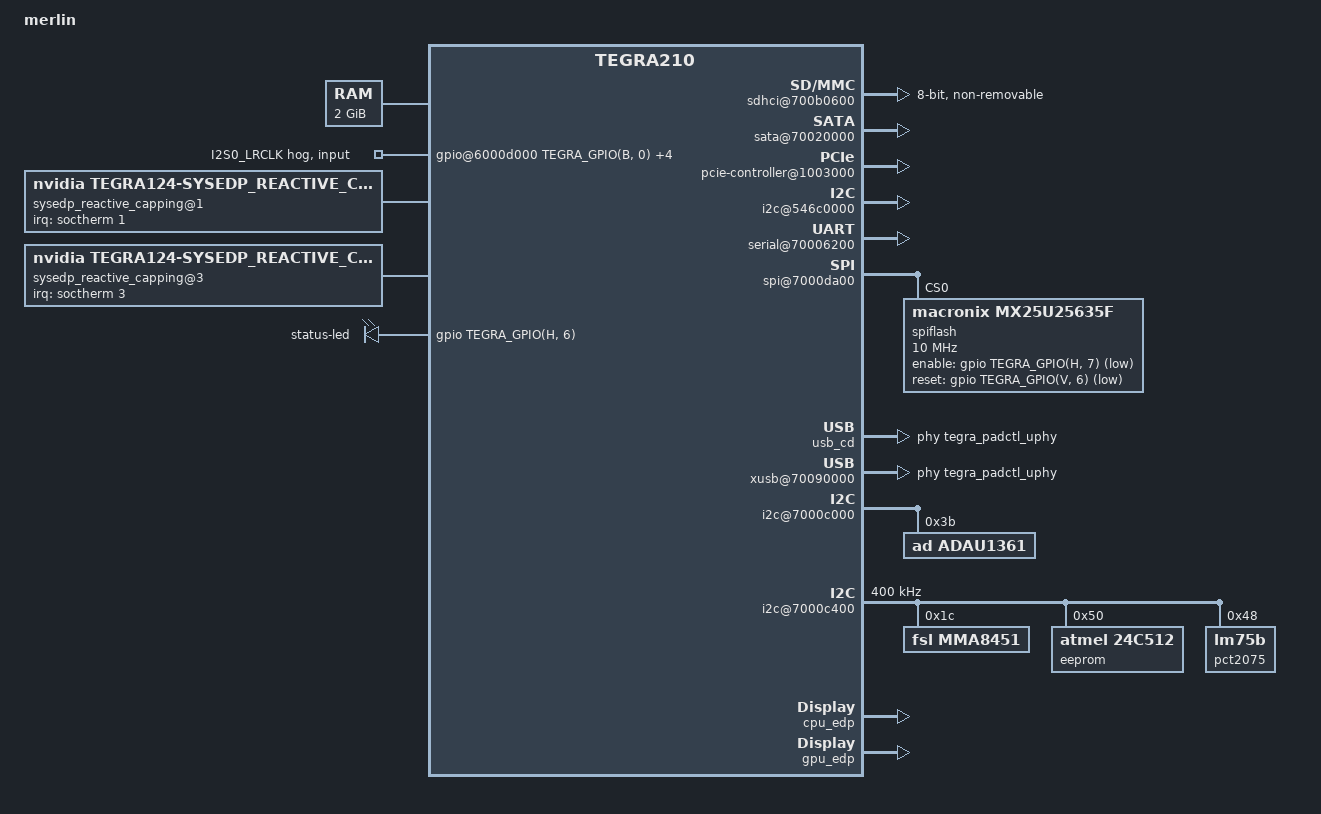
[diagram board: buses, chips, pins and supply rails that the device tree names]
/*
 * Copyright (c) 2016, Sensity Systems, Inc.  All rights reserved.
 * Copyright (c) 2017 Verizon Communications, Inc.  All rights reserved.
 *
 * This program is free software; you can redistribute it and/or modify
 * it under the terms of the GNU General Public License as published by
 * the Free Software Foundation; version 2 of the License.
 *
 * This program is distributed in the hope that it will be useful, but WITHOUT
 * ANY WARRANTY; without even the implied warranty of MERCHANTABILITY or
 * FITNESS FOR A PARTICULAR PURPOSE.  See the GNU General Public License for
 * more details.
 *
 */

/dts-v1/;

/memreserve/ 0x80000000 0x00020000;

#include "tegra210-jetson-common.dtsi"
#include <tegra210-soc/tegra210-audio.dtsi>
#include "tegra210-sensity-merlin-power-tree.dtsi"
#include "tegra210-sensity-merlin-pinmux.dtsi"
#include "jetson-platforms/tegra210-jetson-cv-sdmmc-drv-p2597-2180-a00.dtsi"
#include "jetson-platforms/tegra210-jetson-cv-prods.dtsi"
#include "tegra210-sensity-merlin-cameras.dtsi"
#include <tegra210-soc/tegra210-sdhci.dtsi>
#include "jetson-platforms/tegra210-p2180-common.dtsi"
#include <dt-bindings/iio/meter/ina3221x.h>
#include <t210-common-platforms/tegra210-otg-gpio-detection-extcon.dtsi>
#include "jetson-platforms/tegra210-jetson-cv-emc-p2180-1000-a00.dtsi"
#include <tegra210-soc/tegra210-edp.dtsi>
#include <t210-common-platforms/tegra210-sysedp.dtsi>
#include <t210-common-platforms/tegra210-thermal-nct72-p2530.dtsi>
#include <tegra210-soc/tegra210-thermal-Tboard-Tdiode.dtsi>
#include "jetson-platforms/tegra210-jetson-cv-powermon-p2180-1000-a00.dtsi"
#include "jetson-platforms/tegra210-jetson-cv-powermon-p2597.dtsi"
#include <t210-common-platforms/tegra210-cpufreq.dtsi>
#include <t210-common-overrides/tegra210-power-dvfs-override-ucm2c.dtsi>

/ {
	model = "merlin";
	compatible = "sensity,merlin", "nvidia,jetson-cv", "nvidia,tegra210";
	nvidia,dtsfilename = __FILE__;

	nvidia,boardids = "2597:2180:A0";
	nvidia,proc-boardid = "2597:2180:A0";
	nvidia,pmu-boardid = "2597:2180:A0";
	#address-cells = <2>;
	#size-cells = <2>;

	aliases {
		rtc0 = "/i2c@7000d000/max77620@3c";
		/delete-property/ rtc1;
	};

	chosen {
		board-has-eeprom;
		stdout-path = &uarta;
	};

	reserved-memory {
		generic_reserved: generic_carveout {
			compatible = "nvidia,generic_carveout";
			size = <0x0 0x20000000>;	/* size set as 512MB here. Update it as desired. */
			alignment = <0 0x100000>;	/* carveout start is aligned to 1MB here*/
			alloc-ranges = <0 0 0x1 0>;	/* phys memory reserved is between 0x0 and 4GB-1 address range. */
			no-map;
			status = "disabled";
		};
	};

	pmc@7000e400 {
		nvidia,invert-interrupt;
		iopad-defaults {
			sdmmc-io-pads {
				pins = "sdmmc1", "sdmmc3";
				nvidia,enable-voltage-switching;
			};
		};
	};

	memory@80000000 {
		device_type = "memory";
		reg = < 0x0 0x80000000 0x0 0x80000000 >;
	};

	rtc {
		status = "disabled";
	};

	sdhci@700b0600 { /* SDMMC4 for EMMC */
		uhs-mask = <0x0>;
		built-in;
		power-off-rail;
		status = "okay";
		bus-width = <8>;
		non-removable;
	};

	sdhci@700b0200 { /* SDMMC2 for Wifi */
		uhs-mask = <0x8>;
		power-off-rail;
		status = "disabled";
	};

	sdhci@700b0000 { /* SDMMC1 for SD card */
		status = "disabled";
	};

	adma@702e2000  {
		dma-channels = <10>;
		status = "okay";
	};

	ahub {
		i2s@702d1000 {
			pinctrl-names = "dap_active", "dap_inactive";
			pinctrl-0 = <>;
			pinctrl-1 = <>;
			regulator-supplies = "vdd-1v8-audio-hv", "vdd-1v8-audio-hv-bias";
			vdd-1v8-audio-hv-supply = <&max77620_sd3>;
			vdd-1v8-audio-hv-bias-supply = <&max77620_sd3>;
		};

		i2s@702d1300 {
			pinctrl-names = "dap_active", "dap_inactive";
			pinctrl-0 = <>;
			pinctrl-1 = <>;
			regulator-supplies = "vddio-dmic";
			vddio-dmic-supply = <&max77620_sd3>;
		};

		i2s@702d1100 {
			pinctrl-names = "dap_active", "dap_inactive";
			pinctrl-0 = <>;
			pinctrl-1 = <>;
			regulator-supplies = "vdd-1v8-spi-hv", "vdd-1v8-spi-hv-bias";
			vdd-1v8-spi-hv-supply = <&max77620_sd3>;
			vdd-1v8-spi-hv-bias-supply = <&max77620_sd3>;
			fsync-width = <0>;
		};
	};

	sata@70020000 {
		compatible = "nvidia,tegra210-ahci-sata";
		status = "okay";
	};

	pcie-controller@1003000 {
		nvidia,wake-gpio = <&gpio TEGRA_GPIO(A, 2) 0>;
		dvdd-pex-pll-supply = <&max77620_ldo1>;
		l0-dvddio-pex-supply = <&max77620_ldo1>;
		l1-dvddio-pex-supply = <&max77620_ldo1>;
		l2-dvddio-pex-supply = <&max77620_ldo1>;
		l3-dvddio-pex-supply = <&max77620_ldo1>;
		l4-dvddio-pex-supply = <&max77620_ldo1>;
		l5-dvddio-pex-supply = <&max77620_ldo1>;
		l6-dvddio-pex-supply = <&max77620_ldo1>;
		hvdd-pex-pll-e-supply = <&max77620_sd3>;
		l0-hvddio-pex-supply = <&max77620_sd3>;
		l1-hvddio-pex-supply = <&max77620_sd3>;
		l2-hvddio-pex-supply = <&max77620_sd3>;
		l3-hvddio-pex-supply = <&max77620_sd3>;
		l4-hvddio-pex-supply = <&max77620_sd3>;
		l5-hvddio-pex-supply = <&max77620_sd3>;
		l6-hvddio-pex-supply = <&max77620_sd3>;
		vddio-pex-ctl-supply = <&max77620_sd3>;
		status = "okay";

		pci@1,0 {
			nvidia,num-lanes = <4>;
			status = "okay";
		};

		pci@2,0 {
			nvidia,num-lanes = <1>;
			status = "disabled";
		};
	};

	host1x {
		assigned-clocks = <&tegra_car TEGRA210_CLK_EXTERN3>,
						<&tegra_car TEGRA210_CLK_CILE>,
						<&tegra_car TEGRA210_CLK_CILCD>,
						<&tegra_car TEGRA210_CLK_CILAB>,
						<&tegra_car TEGRA210_CLK_VI_I2C>,
						<&tegra_car TEGRA210_CLK_CLK_OUT_3_MUX>,
						<&tegra_car TEGRA210_CLK_VI>,
						<&tegra_car TEGRA210_CLK_ISP>,
						<&tegra_car TEGRA210_CLK_ISPB>;
		assigned-clock-parents = <&tegra_car TEGRA210_CLK_PLL_P>,
						<&tegra_car TEGRA210_CLK_PLL_P>,
						<&tegra_car TEGRA210_CLK_PLL_P>,
						<&tegra_car TEGRA210_CLK_PLL_P>,
						<&tegra_car TEGRA210_CLK_PLL_P>,
						<&tegra_car TEGRA210_CLK_EXTERN3>,
						<&tegra_car TEGRA210_CLK_PLL_C>,
						<&tegra_car TEGRA210_CLK_PLL_C>,
						<&tegra_car TEGRA210_CLK_ISP>;
		assigned-clock-rates = <24000000>,
						<102000000>,
						<102000000>,
						<102000000>,
						<102000000>,
						<24000000>,
						<408000000>,
						<408000000>,
						<0>;
		/* tegradc.0 */
		dc@54200000 {
			status = "disabled";
		};

		/* tegradc.1 */
		dc@54240000 {
			status = "disabled";
		};

		dsi {
			status = "disabled";
		};

		sor {
		        status = "disabled";
		};

		dpaux1 {
			status = "disabled";
		};

		i2c@546c0000 {
			status = "okay";
			bus-pullup-supply = <&max77620_sd3>;
			avdd_dsi_csi-supply = <&max77620_ldo0>;
		};

		vi {
			status = "okay";
			avdd_dsi_csi-supply = <&max77620_ldo0>;
		};
	};

	serial@70006040 {
		status = "disabled";
	};

	serial@70006200 {
		status = "okay";
	};

	serial@70006300 {
		status = "disabled";
		dma-names = "tx";
	};

	spi@7000d400 {
		status = "disabled";
	};

	spi@7000da00 {
		status = "okay";
		spiflash: mcix@0 {
			#address-cells = <1>;
			#size-cells = <1>;
			compatible = "macronix,mx25u25635f", "jedec,spi-nor";
			reg = <0>;
			spi-max-frequency = <10000000>;
			m25p,fast-read;
			enable-gpio = <&gpio TEGRA_GPIO(H, 7) GPIO_ACTIVE_LOW>;
			reset-gpios = <&gpio TEGRA_GPIO(V, 6) GPIO_ACTIVE_LOW>;
		};
	};

	gpio@6000d000 {
		adau1361-audio {
			gpio-hog;
			function;
			gpios = <
				TEGRA_GPIO(B, 0) 0
				TEGRA_GPIO(B, 1) 0
				TEGRA_GPIO(B, 2) 0
				TEGRA_GPIO(B, 3) 0
				TEGRA_GPIO(BB, 0) 0
				>;
			label = "I2S0_LRCLK", "I2S0_SDIN", "I2S0_SDOUT",
				"I2S0_CLK", "AUDIO_MCLK";
		};
	};
	sound_card: sound {
		compatible = "nvidia,tegra-audio-t210ref-adau1x61";
		nvidia,model = "tegra-snd-t210ref-adau1x61";

		clocks = <&tegra_car TEGRA210_CLK_PLL_P_OUT1>,
                        <&tegra_car TEGRA210_CLK_PLL_A>,
                        <&tegra_car TEGRA210_CLK_PLL_A_OUT0>,
                        <&tegra_car TEGRA210_CLK_D_AUDIO>,
                        <&tegra_car TEGRA210_CLK_CLK_M>,
                        <&tegra_car TEGRA210_CLK_EXTERN1>;
		clock-names = "pll_p_out1", "pll_a", "pll_a_out0", "ahub",
			"clk_m", "extern1";


		assigned-clocks = <&tegra_car TEGRA210_CLK_PLL_A>,
			<&tegra_car TEGRA210_CLK_PLL_A_OUT0>,
			<&tegra_car TEGRA210_CLK_D_AUDIO>,
			<&tegra_car TEGRA210_CLK_EXTERN1>;
		assigned-clock-rates = <368640000>, <36864000>,
			<36864000>, <12288000>;

		nvidia,num-codec-link = <1>;

		nvidia,audio-routing =
			"x LINN",	"x Microphone";

		nvidia,xbar = <&tegra_axbar>;
		nvidia,dai-link-1 {
			link-name = "adau-hifi";
			cpu-dai = <&tegra_i2s1>;
			cpu-dai-name = "I2S1";
			codec-dai = <&adau1361>;
			codec-dai-name = "adau-hifi";
			format = "i2s";
			bitclock-master;
			frame-master;
			bitclock-noninversion;
			frame-noninversion;
			bit-format = "s16_le";
			bclk_ratio = <0>;
			srate = <48000>;
			num-channel = <2>;
			name-prefix = "x";
		};
	};

	adsp_audio {
		compr-ops = <1>;
		num-plugin = <5>;
		plugin-info-1 {
			plugin-name = "mp3-dec1";
			firmware-name = "nvmp3dec.elf";
			widget-name = "MP3-DEC1";
		};
		plugin-info-2 {
			plugin-name = "spkprot";
			firmware-name = "nvspkprot.elf";
			widget-name = "SPKPROT-SW";
		};
		plugin-info-3 {
			plugin-name = "src";
			firmware-name = "nvsrc.elf";
			widget-name = "SRC";
		};
		plugin-info-4 {
			plugin-name = "aac-dec1";
			firmware-name = "nvaacdec.elf";
			widget-name = "AAC-DEC1";
		};
		plugin-info-5 {
			plugin-name = "aec";
			firmware-name = "nvoice.elf";
			widget-name = "AEC";
		};
	};

	extcon {
		extcon@0 {
			status = "disabled";
		};
	};

	udc@7d000000 {
		nvidia,port-otg;
		nvidia,charging-supported;
		#extcon-cells = <1>;
		status = "disabled";
	};

        otg@7d000000 {
		#extcon-cells = <1>;
		status = "disabled";
	};

	mailbox@70098000 {
		status = "okay";
	};

	usb_cd {
		status = "okay";
		phys = <&tegra_padctl_uphy TEGRA_PADCTL_UPHY_UTMI_P(0)>;
		phy-names = "otg-phy";
	};

	watchdog@60005100 {
		status = "okay";
	};

	pinctrl@7009f000 {
		status = "okay";
		pinctrl-0 = <&tegra_padctl_uphy_pinmux_default>;
		pinctrl-names = "default";
		tegra_padctl_uphy_pinmux_default: pinmux {
			usb2-micro-AB-xusb {
				nvidia,lanes = "otg-0";
				nvidia,function = "xusb";
				nvidia,port-cap =
					<TEGRA_PADCTL_PORT_OTG_CAP>;
				nvidia,usb3-port-fake = <2>;
			};
			usb2-std-A-port0 {
				 nvidia,lanes = "otg-2";
				 nvidia,function = "xusb";
				 nvidia,port-cap =
					<TEGRA_PADCTL_PORT_HOST_ONLY>;
			};
			usb2-socfpga {
				 nvidia,lanes = "otg-3";
				 nvidia,function = "xusb";
				 nvidia,port-cap =
					<TEGRA_PADCTL_PORT_HOST_ONLY>;
			};
			usb2-eth {
				 nvidia,lanes = "otg-1";
				 nvidia,function = "xusb";
				 nvidia,port-cap =
					<TEGRA_PADCTL_PORT_HOST_ONLY>;
			};
			usb3-eth {
				 nvidia,lanes = "uphy-lane-6";
				 nvidia,function = "usb3";
				 nvidia,usb3-port = <0>;
				 nvidia,usb2-map = <1>;
				 nvidia,port-cap =
					<TEGRA_PADCTL_PORT_HOST_ONLY>;
			};
			hsic {
				 nvidia,lanes = "hsic-0";
				 nvidia,function = "hsic";
			};
			pcie {
				 nvidia,lanes =	"uphy-lane-1", "uphy-lane-2",
						"uphy-lane-3", "uphy-lane-4";
				 nvidia,function = "pcie";
				 nvidia,pcie-controller = <0>;
				 nvidia,pcie-lane-select =
					<TEGRA_PADCTL_PCIE_LANE_X4>;
			};
			pcie-m2 {
				nvidia,lanes = "uphy-lane-0";
				nvidia,function = "pcie";
				nvidia,pcie-controller = <1>;
				nvidia,pcie-lane-select =
					<TEGRA_PADCTL_PCIE_LANE_X1>;
			};
			sata {
				 nvidia,lanes = "uphy-lane-7";
				 nvidia,function = "sata";
			};
		};
	};

	xusb@70090000 {
		status = "okay";
		extcon-cables = <&vbus_gpio_extcon 1>;
		extcon-cable-names = "id";
		#extcon-cells = <1>;
		phys =	<&tegra_padctl_uphy TEGRA_PADCTL_UPHY_UTMI_P(2)>,
			<&tegra_padctl_uphy TEGRA_PADCTL_UPHY_UTMI_P(1)>,
			<&tegra_padctl_uphy TEGRA_PADCTL_UPHY_USB3_P(0)>,
			<&tegra_padctl_uphy TEGRA_PADCTL_UPHY_UTMI_P(0)>,
			<&tegra_padctl_uphy TEGRA_PADCTL_UPHY_UTMI_P(3)>;
		phy-names = "utmi-2", "utmi-1", "usb3-0", "utmi-0", "utmi-3";
		nvidia,pmc-wakeup =
			<&tegra_pmc
				PMC_WAKE_TYPE_EVENT 41 PMC_TRIGGER_TYPE_HIGH>,
			<&tegra_pmc
				PMC_WAKE_TYPE_EVENT 44 PMC_TRIGGER_TYPE_HIGH>;
	};

	xudc@700d0000 {
		nvidia,portmap = <0x0108>;
		#extcon-cells = <1>;
		status = "disabled";
	};

	xotg {
		#extcon-cells = <1>;
		status = "disabled";
	};

	gpu-dvfs-rework {
		status = "ok";
	};

	i2c@7000c000 {
		adau1361: adau1761.0-003b@3b {
                        compatible = "ad,adau1361";
                        reg = <0x3b>;
			lineout-mode = "headphone"; /* "line" | "headphone" | "headphone-capless" */
			headphone-mode = "headphone-capless"; /* "line" | "headphone" | "headphone-capless" */
			digmic-jackdetect-pin-mode = "none"; /* "none" | "digmic" | "jackdetect" */
			micbias-voltage-pct = <90>; /* <90|65> */
			input-differential;
			/* jackdetect-active-low; */
			/* jackdetect-debounce-time = <5|10|20|40>; */
                };
	};

	i2c@7000c400 {
		nvidia,clock-always-on;
	};

	sysedp {
		compatible = "nvidia,tegra124-sysedp";
		nvidia,margin = <0>;
		nvidia,min_budget = <0>;
		nvidia,initial_budget = <40000>;
	};

	sysedp_reactive_capping@1 {
		compatible = "nvidia,tegra124-sysedp_reactive_capping";
		nvidia,max_capping_mw = <15000>;
		nvidia,step_alarm_mw = <1000>;
		nvidia,step_relax_mw = <500>;
		nvidia,relax_ms = <250>;
		nvidia,threshold_warning = "WARNING - SYSTEM Voltage Droop detected, please refer to the Jetson Power management application note";
		interrupt-parent = <&soctherm>;
		interrupts = <1 0x2002>;
		sysedpc {
			nvidia,name = "voltmon_oc1";
		};
	};

	sysedp_reactive_capping@3 {
		compatible = "nvidia,tegra124-sysedp_reactive_capping";
		nvidia,max_capping_mw = <15000>;
		nvidia,step_alarm_mw = <1000>;
		nvidia,step_relax_mw = <500>;
		nvidia,relax_ms = <250>;
		nvidia,threshold_warning = "WARNING - Battery Over Current Limit hit, please refer to the Jetson Power management application note";
		interrupt-parent = <&soctherm>;
		interrupts = <3 0x2002>;
		sysedpc {
			nvidia,name = "batmon_oc3";
		};
	};

	sysedp-dynamic-capping {
		compatible = "nvidia,tegra124-sysedp-dynamic-capping";
		nvidia,throttle_depth = <75>;
		nvidia,cap_method = <1>;
	};

	cpu_edp {
		status = "okay";
		nvidia,edp_limit = <25000>;
	};

	gpu_edp {
		status = "okay";
		nvidia,edp_limit = <25000>;
	};

	soctherm@0x700E2000 {
		throttle-cfgs {
			throttle_oc1: oc1 {
				nvidia,priority = <50>;
				nvidia,polarity-active-low = <1>;
				nvidia,count-threshold = <100>;
				nvidia,alarm-filter = <5100000>;
				nvidia,alarm-period = <0>;
				nvidia,cpu-throt-percent = <75>;
				nvidia,gpu-throt-level =
					<TEGRA_SOCTHERM_THROT_LEVEL_MED>;
			};
			throttle_oc3: oc3 {
				nvidia,priority = <40>;
				nvidia,polarity-active-low = <1>;
				nvidia,count-threshold = <15>;
				nvidia,alarm-filter = <5100000>;
				nvidia,alarm-period = <0>;
				nvidia,cpu-throt-percent = <0>;
				nvidia,gpu-throt-level =
					<TEGRA_SOCTHERM_THROT_LEVEL_NONE>;
			};
		};
	};

	thermal-zones {
		CPU-therm {
			thermal-zone-params {
				governor-name = "step_wise";
			};
			trips {
				cpu_critical {
					temperature = <102000>;
					hysteresis = <0>;
					type = "critical";
					writable;
				};
				cpu_heavy {
					temperature = <100500>;
					hysteresis = <0>;
					type = "hot";
					writable;
				};
				cpu_throttle {
					temperature = <97000>;
					hysteresis = <0>;
					type = "passive";
					writable;
				};
			};
			cooling-maps {
				map0 {
					trip = <&{/thermal-zones/CPU-therm/trips/cpu_critical}>;
					cdev-type = "tegra-shutdown";
					cooling-device = <&{/soctherm@0x700E2000/throttle@critical}
						THERMAL_NO_LIMIT THERMAL_NO_LIMIT>;
				};
				map1 {
					trip = <&{/thermal-zones/CPU-therm/trips/cpu_heavy}>;
					cdev-type = "tegra-heavy";
					cooling-device = <&throttle_heavy 1 1>;
				};
				map2 {
					trip = <&{/thermal-zones/CPU-therm/trips/cpu_throttle}>;
					cdev-type = "cpu-balanced";
					cooling-device = <&{/bthrot_cdev/cpu_balanced}
						THERMAL_NO_LIMIT THERMAL_NO_LIMIT>;
				};
			};
		};
		GPU-therm {
			thermal-zone-params {
				governor-name = "step_wise";
			};
			trips {
				gpu_critical {
					temperature = <102500>;
					hysteresis = <0>;
					type = "critical";
					writable;
				};
				gpu_heavy {
					temperature = <101000>;
					hysteresis = <0>;
					type = "hot";
					writable;
				};
				gpu_throttle {
					temperature = <97500>;
					hysteresis = <0>;
					type = "passive";
					writable;
				};
			};
			cooling-maps {
				map0 {
					trip = <&{/thermal-zones/GPU-therm/trips/gpu_critical}>;
					cdev-type = "tegra-shutdown";
					cooling-device = <&{/soctherm@0x700E2000/throttle@critical}
						THERMAL_NO_LIMIT THERMAL_NO_LIMIT>;
				};
				map1 {
					trip = <&{/thermal-zones/GPU-therm/trips/gpu_heavy}>;
					cdev-type = "tegra-heavy";
					cooling-device = <&throttle_heavy 1 1>;
				};
				map2 {
					trip = <&{/thermal-zones/GPU-therm/trips/gpu_throttle}>;
					cdev-type = "gpu-balanced";
					cooling-device = <&{/bthrot_cdev/gpu_balanced}
						THERMAL_NO_LIMIT THERMAL_NO_LIMIT>;
				};
			};
		};
		LCPU-therm {
			thermal-zone-params {
				governor-name = "pid_thermal_gov";
				max_err_temp = <9000>;
				max_err_gain = <1000>;
				gain_p = <1000>;
				gain_d = <0>;
				up_compensation = <20>;
				down_compensation = <20>;
			};
			trips {
				lcpu_critical {
					temperature = <103000>; /* must be same as GPU's critical temp */
					hysteresis = <0>;
					type = "critical";
					writable;
				};
				lcpu_heavy {
					temperature = <101500>;
					hysteresis = <0>;
					type = "hot";
					writable;
				};
				lcpu_throttle {
					temperature = <92000>;
					hysteresis = <0>;
					type = "passive";
					writable;
				};
			};
			cooling-maps {
				map0 {
					trip = <&{/thermal-zones/LCPU-therm/trips/lcpu_critical}>;
					cdev-type = "tegra-shutdown";
					cooling-device = <&{/soctherm@0x700E2000/throttle@critical}
						THERMAL_NO_LIMIT THERMAL_NO_LIMIT>;
				};
				map1 {
					trip = <&{/thermal-zones/LCPU-therm/trips/lcpu_heavy}>;
					cdev-type = "tegra-heavy";
					cooling-device = <&{/soctherm@0x700E2000/throttle@heavy}
						THERMAL_NO_LIMIT THERMAL_NO_LIMIT>;
				};
				map2 {
					trip = <&{/thermal-zones/LCPU-therm/trips/lcpu_throttle}>;
					cdev-type = "cpu-balanced";
					cooling-device = <&{/bthrot_cdev/cpu_balanced}
						THERMAL_NO_LIMIT THERMAL_NO_LIMIT>;
				};
			};
		};
		PLL-therm {
			thermal-zone-params {
				governor-name = "pid_thermal_gov";
				max_err_temp = <9000>;
				max_err_gain = <1000>;
				gain_p = <1000>;
				gain_d = <0>;
				up_compensation = <20>;
				down_compensation = <20>;
			};
		};

		Tboard_tegra {
			status = "okay";
		};
		Tdiode_tegra {
			status = "okay";
		};
		AO-therm {
			status = "okay";
		};
	};

	i2c@7000c400 {
		clock-frequency = <400000>;
		mma8451@1c {
			compatible = "fsl,mma8451";
			reg = <0x1c>;
		};
		eeprom@50 {
			compatible = "atmel,24c512";
			reg = <0x50>;
			pagesize = <128>;
		};
		pct2075@48 {
			compatible = "lm75b", "lm75";
			reg = <0x48>;
		};
		ina3221x@40 {
			status = "enabled";
			channel@0 {
				ti,current-critical-limit-ma = <3333>;
			};
		};
	};

	i2c@7000d000 {
		clock-frequency = <1000000>;
	};

	dfll-max77621@70110000 {
		dfll-max77621-integration {
			i2c-fs-rate = <1000000>;
		};

		dfll-max77621-board-params {
			sample-rate = <20000>;
		};
	};

	soctherm@0x700E2000 {
		therm_gpu {
			enable-hw-pllx-offsetting;
			pllx-offset-max = <4000>;
			pllx-offset-min = <2000>;
		};
	};

	clock@70110000 {
		status = "okay";
		vdd-cpu-supply = <&cpu_ovr_reg>;
		nvidia,pwm-to-pmic;
		nvidia,init-uv = <1000000>;
		nvidia,align-step-uv = <19200>; /* 19.2mv */
		nvidia,align-offset-uv = <708000>; /* 708mv */
		nvidia,sample-rate = <25000>;
		nvidia,droop-ctrl = <0x00000f00>;
		nvidia,force-mode = <1>;
		nvidia,cf = <6>;
		nvidia,ci = <0>;
		nvidia,cg = <2>;
	};

	leds {
		compatible = "gpio-leds";
		status-led {
			gpios = <&gpio TEGRA_GPIO(H, 6) GPIO_ACTIVE_HIGH>;
			linux,default-trigger = "timer";
		};
	};

	bcmdhd_wlan {
		status = "disabled";
	};

	bluedroid_pm {
		status = "disabled";
	};

};
